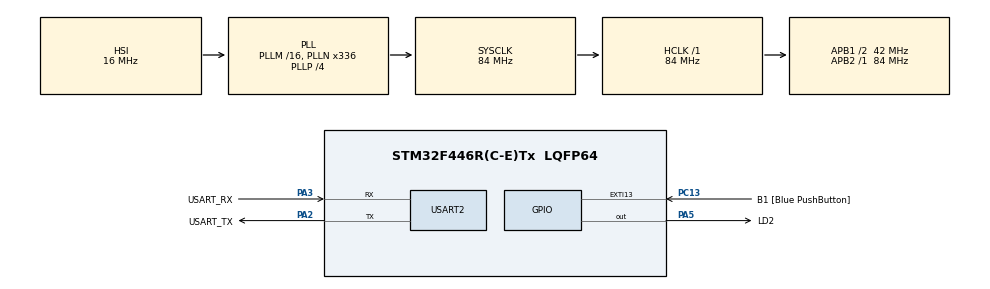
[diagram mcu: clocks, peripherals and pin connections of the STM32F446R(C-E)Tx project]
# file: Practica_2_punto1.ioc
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Mcu.Family=STM32F4
Mcu.Name=STM32F446R(C-E)Tx
Mcu.Package=LQFP64
NVIC.PriorityGroup=NVIC_PRIORITYGROUP_0
PA13.GPIO_Label=TMS
PA13.Mode=Serial_Wire
PA13.Signal=SYS_JTMS-SWDIO
PA14.GPIO_Label=TCK
PA14.Mode=Serial_Wire
PA14.Signal=SYS_JTCK-SWCLK
PA2.GPIO_Label=USART_TX
PA2.Mode=Asynchronous
PA2.Signal=USART2_TX
PA3.GPIO_Label=USART_RX
PA3.Mode=Asynchronous
PA3.Signal=USART2_RX
PA5.GPIO_Label=LD2
PA5.Signal=GPIO_Output
PB3.GPIO_Label=SWO
PB3.Signal=SYS_JTDO-SWO
PC13.GPIO_Label=B1 [Blue PushButton]
PC13.GPIO_ModeDefaultEXTI=GPIO_MODE_IT_FALLING
PC13.Signal=GPXTI13
PC14-OSC32_IN.Mode=LSE-External-Oscillator
PC14-OSC32_IN.Signal=RCC_OSC32_IN
PC15-OSC32_OUT.Mode=LSE-External-Oscillator
PC15-OSC32_OUT.Signal=RCC_OSC32_OUT
PH0-OSC_IN.Mode=HSE-External-Oscillator
PH0-OSC_IN.Signal=RCC_OSC_IN
PH1-OSC_OUT.Mode=HSE-External-Oscillator
PH1-OSC_OUT.Signal=RCC_OSC_OUT
ProjectManager.HeapSize=0x200
ProjectManager.StackSize=0x400
ProjectManager.TargetToolchain=STM32CubeIDE
RCC.48MHZClocksFreq_Value=84000000
RCC.AHBFreq_Value=84000000
RCC.APB1CLKDivider=RCC_HCLK_DIV2
RCC.APB1Freq_Value=42000000
RCC.APB1TimFreq_Value=84000000
RCC.APB2Freq_Value=84000000
RCC.APB2TimFreq_Value=84000000
RCC.CortexFreq_Value=84000000
RCC.FLatency-AdvancedSettings=FLASH_LATENCY_2
RCC.HCLKFreq_Value=84000000
RCC.HSE_VALUE=8000000
RCC.HSI_VALUE=16000000
RCC.PLLN=336
RCC.PLLP=RCC_PLLP_DIV4
RCC.SYSCLKFreq_VALUE=84000000
RCC.SYSCLKSource=RCC_SYSCLKSOURCE_PLLCLK
RCC.USBFreq_Value=168000000
RCC.VCOOutputFreq_Value=336000000
USART2.VirtualMode=VM_ASYNC
board=NUCLEO-F446RE

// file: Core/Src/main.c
/* USER CODE BEGIN Header */
/**
  ******************************************************************************
  * @file           : main.c
  * @brief          : Main program body
  ******************************************************************************
  * @attention
  *
  * Copyright (c) 2025 STMicroelectronics.
  * All rights reserved.
  *
  * This software is licensed under terms that can be found in the LICENSE file
  * in the root directory of this software component.
  * If no LICENSE file comes with this software, it is provided AS-IS.
  *
  ******************************************************************************
  */
/* USER CODE END Header */
#include "main.h"

/* USER CODE BEGIN Includes */
/* USER CODE BEGIN 0 */
/* Declaro huart2, dado que el codigo me estaba presentando error por no estarlo*/
UART_HandleTypeDef huart2;
/**
  * Inicializamos una estructura de retardo.
  * delay: Puntero a la estructura de retardo.
  * duration: Duración del retardo en milisegundos (ms).
  */
void delayInit( delay_t * delay, tick_t duration )
{
	delay->duration = duration;
	delay->running = false;
}

/**
  * Lee el estado del retardo. Si no está corriendo, lo inicia.
  * Si está corriendo, verifica si se ha cumplido el tiempo.
  * delay: Puntero a la estructura de retardo.
  * bool_t: true si el tiempo se cumplió, false en caso contrario.
  */
bool_t delayRead( delay_t * delay )
{
	bool_t time_cumplido = false; // Variable para almacenar el resultado

	if( !delay->running )
	{
		// Si el retardo no está corriendo, tomamos la marca de tiempo inicial
		// y lo ponemos a correr.
		delay->startTime = HAL_GetTick();
		delay->running = true;
	}
	else
	{
		// Si el retardo ya está corriendo, verificamos si ha pasado el tiempo.
		// La resta de enteros sin signo gestiona automáticamente el desbordamiento (rollover)
		// del contador de HAL_GetTick().
		if( (HAL_GetTick() - delay->startTime) >= delay->duration )
		{
			// Si el tiempo se cumplió, lo indicamos y reiniciamos el flag.
			time_cumplido = true;
			delay->running = false;
		}
	}

	return time_cumplido;
}

/**
  * Actualizamos la duración de un retardo existente.
  * delay: Puntero a la estructura de retardo.
  * duration: Nueva duración del retardo en milisegundos (ms).
  */
void delayWrite( delay_t * delay, tick_t duration )
{
	delay->duration = duration;
}

/* USER CODE END 0 */

void SystemClock_Config(void);
static void MX_GPIO_Init(void);
static void MX_USART2_UART_Init(void);

int main(void)
{

  /* USER CODE BEGIN 1 */
  // 1. Declarar una variable de tipo delay_t para controlar el parpadeo del LED
  delay_t led_delay;
  /* USER CODE END 1 */

  /* MCU Configuration--------------------------------------------------------*/

  /* Reset of all peripherals, Initializes the Flash interface and the Systick. */
  HAL_Init();

  /* Configure the system clock */
  SystemClock_Config();

  /* Initialize all configured peripherals */
  MX_GPIO_Init();
  MX_USART2_UART_Init();
  /* USER CODE BEGIN 2 */
  // Punto 2. Inicializar nuestro retardo con una duración de 100ms
  delayInit(&led_delay, 100);
  /* USER CODE END 2 */

  /* Infinite loop */
  while (1)
  {
	  // 3. Preguntar si el tiempo del retardo se ha cumplido
	     if ( delayRead(&led_delay) )
	     {
	       // Si se cumplió, cambiamos el estado del LED
	       HAL_GPIO_TogglePin(LD2_GPIO_Port, LD2_Pin);
	     }
  }
}

void SystemClock_Config(void)
{
  RCC_OscInitTypeDef RCC_OscInitStruct = {0};
  RCC_ClkInitTypeDef RCC_ClkInitStruct = {0};

  /** Configure the main internal regulator output voltage
  */
  __HAL_RCC_PWR_CLK_ENABLE();
  __HAL_PWR_VOLTAGESCALING_CONFIG(PWR_REGULATOR_VOLTAGE_SCALE3);

  /** Initializes the RCC Oscillators according to the specified parameters
  * in the RCC_OscInitTypeDef structure.
  */
  RCC_OscInitStruct.OscillatorType = RCC_OSCILLATORTYPE_HSI;
  RCC_OscInitStruct.HSIState = RCC_HSI_ON;
  RCC_OscInitStruct.HSICalibrationValue = RCC_HSICALIBRATION_DEFAULT;
  RCC_OscInitStruct.PLL.PLLState = RCC_PLL_ON;
  RCC_OscInitStruct.PLL.PLLSource = RCC_PLLSOURCE_HSI;
  RCC_OscInitStruct.PLL.PLLM = 16;
  RCC_OscInitStruct.PLL.PLLN = 336;
  RCC_OscInitStruct.PLL.PLLP = RCC_PLLP_DIV4;
  RCC_OscInitStruct.PLL.PLLQ = 2;
  RCC_OscInitStruct.PLL.PLLR = 2;
  if (HAL_RCC_OscConfig(&RCC_OscInitStruct) != HAL_OK)
  {
    Error_Handler();
  }

  /** Initializes the CPU, AHB and APB buses clocks
  */
  RCC_ClkInitStruct.ClockType = RCC_CLOCKTYPE_HCLK|RCC_CLOCKTYPE_SYSCLK
                              |RCC_CLOCKTYPE_PCLK1|RCC_CLOCKTYPE_PCLK2;
  RCC_ClkInitStruct.SYSCLKSource = RCC_SYSCLKSOURCE_PLLCLK;
  RCC_ClkInitStruct.AHBCLKDivider = RCC_SYSCLK_DIV1;
  RCC_ClkInitStruct.APB1CLKDivider = RCC_HCLK_DIV2;
  RCC_ClkInitStruct.APB2CLKDivider = RCC_HCLK_DIV1;

  if (HAL_RCC_ClockConfig(&RCC_ClkInitStruct, FLASH_LATENCY_2) != HAL_OK)
  {
    Error_Handler();
  }
}

static void MX_USART2_UART_Init(void)
{

  huart2.Instance = USART2;
  huart2.Init.BaudRate = 115200;
  huart2.Init.WordLength = UART_WORDLENGTH_8B;
  huart2.Init.StopBits = UART_STOPBITS_1;
  huart2.Init.Parity = UART_PARITY_NONE;
  huart2.Init.Mode = UART_MODE_TX_RX;
  huart2.Init.HwFlowCtl = UART_HWCONTROL_NONE;
  huart2.Init.OverSampling = UART_OVERSAMPLING_16;
  if (HAL_UART_Init(&huart2) != HAL_OK)
  {
    Error_Handler();
  }

}

static void MX_GPIO_Init(void)
{
  GPIO_InitTypeDef GPIO_InitStruct = {0};

  /* GPIO Ports Clock Enable */
  __HAL_RCC_GPIOC_CLK_ENABLE();
  __HAL_RCC_GPIOH_CLK_ENABLE();
  __HAL_RCC_GPIOA_CLK_ENABLE();
  __HAL_RCC_GPIOB_CLK_ENABLE();

  /*Configure GPIO pin Output Level */
  HAL_GPIO_WritePin(LD2_GPIO_Port, LD2_Pin, GPIO_PIN_RESET);

  /*Configure GPIO pin : B1_Pin */
  GPIO_InitStruct.Pin = B1_Pin;
  GPIO_InitStruct.Mode = GPIO_MODE_IT_FALLING;
  GPIO_InitStruct.Pull = GPIO_NOPULL;
  HAL_GPIO_Init(B1_GPIO_Port, &GPIO_InitStruct);

  /*Configure GPIO pin : LD2_Pin */
  GPIO_InitStruct.Pin = LD2_Pin;
  GPIO_InitStruct.Mode = GPIO_MODE_OUTPUT_PP;
  GPIO_InitStruct.Pull = GPIO_NOPULL;
  GPIO_InitStruct.Speed = GPIO_SPEED_FREQ_LOW;
  HAL_GPIO_Init(LD2_GPIO_Port, &GPIO_InitStruct);

}

void Error_Handler(void)
{
  __disable_irq();
  while (1)
  {
  }
}
